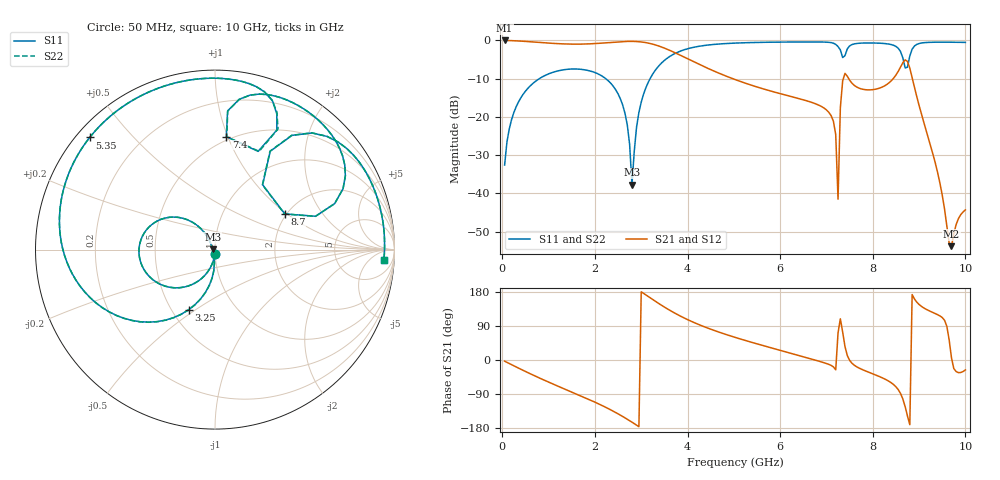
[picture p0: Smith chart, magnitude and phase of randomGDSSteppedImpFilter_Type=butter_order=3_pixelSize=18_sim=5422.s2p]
! freq	dB(S11)	phase(S11)	dB(S12)	phase(S12)
!  dB(S21)	phase(S21)	dB(S22)	phase(S22)
!S-par simulation data
#  GHz  S  DB  R 50
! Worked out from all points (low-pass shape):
!   200 points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, 50 MHz to 10 GHz, reference 50 ohm
!   highest |S21| = -0.01 dB at 50 MHz (marker M1); lowest = -53.8 dB at 9.7 GHz (marker M2)
!   |S21| within 3 dB of the highest: start of sweep to 3.692 GHz
!   lowest |S11| = -37.7 dB at 2.8 GHz (marker M3), VSWR 1.03, Z = 48.7 + j0.166 ohm
!   |S11| at or under -10 dB: start of sweep to 798.7 MHz; 2.235 GHz to 3.191 GHz (956.7 MHz wide, 35.3 % of centre)
!   |S22| runs from -38.1 to -0.4 dB; largest |S21 - S12| = 0
!   S11 on the Smith chart (normalised r, x): 50 MHz: 1.00, -0.05; 3.25 GHz: 0.61, -0.47; 5.35 GHz: 0.04, +0.38; 7.4 GHz: 0.47, +0.99; 8.7 GHz: 1.96, +0.96; 10 GHz: 16, -17
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0.05  -32.57 -92.8  -0.01 -3.1  -0.01 -3.1  -32.57 -92.8
0.5  -13.27 -120.9  -0.25 -30.3  -0.25 -30.3  -13.27 -120.9
1.75  -7.62 172.2  -0.95 -97.6  -0.95 -97.6  -7.62 172.1
2.55  -15.27 126.9  -0.34 -145.5  -0.34 -145.5  -15.27 126.7
2.7  -22.15 120.9  -0.25 -156.4  -0.25 -156.4  -22.16 120.5
2.8  -37.72 172.5  -0.25 -164.0  -0.25 -164.0  -38.12 171.4
2.95  -18.80 -93.2  -0.33 -176.0  -0.33 -176.0  -18.81 -92.9
3.25  -8.76 -113.6  -0.98 159.4  -0.98 159.4  -8.76 -113.4
3.4  -6.38 -125.0  -1.55 147.4  -1.55 147.4  -6.39 -124.9
5.05  -0.68 148.8  -10.33 58.8  -10.33 58.8  -0.68 148.9
5.35  -0.57 138.2  -11.59 47.9  -11.59 47.9  -0.57 138.3
6.7  -0.40 93.0  -16.27 1.9  -16.27 1.9  -0.40 93.1
7.15  -0.72 72.5  -21.11 -18.2  -21.11 -18.2  -0.70 72.8
7.2  -1.03 68.8  -24.61 -25.9  -24.61 -25.9  -0.98 69.2
7.25  -1.61 65.5  -41.49 71.6  -41.49 71.6  -1.52 65.7
7.3  -2.50 62.6  -17.57 108.8  -17.57 108.8  -2.41 62.4
7.4  -3.98 84.3  -8.61 35.5  -8.61 35.5  -3.99 84.0
8.35  -0.96 39.3  -11.09 -56.2  -11.09 -56.2  -0.96 39.3
8.7  -7.20 27.1  -5.08 -123.6  -5.08 -123.6  -7.22 27.1
8.9  -1.46 50.3  -12.23 161.0  -12.23 161.0  -1.46 50.4
9.7  -0.47 7.8  -53.77 5.5  -53.77 5.5  -0.46 7.9
10  -0.51 -3.5  -44.28 -26.1  -44.28 -26.1  -0.51 -3.5
